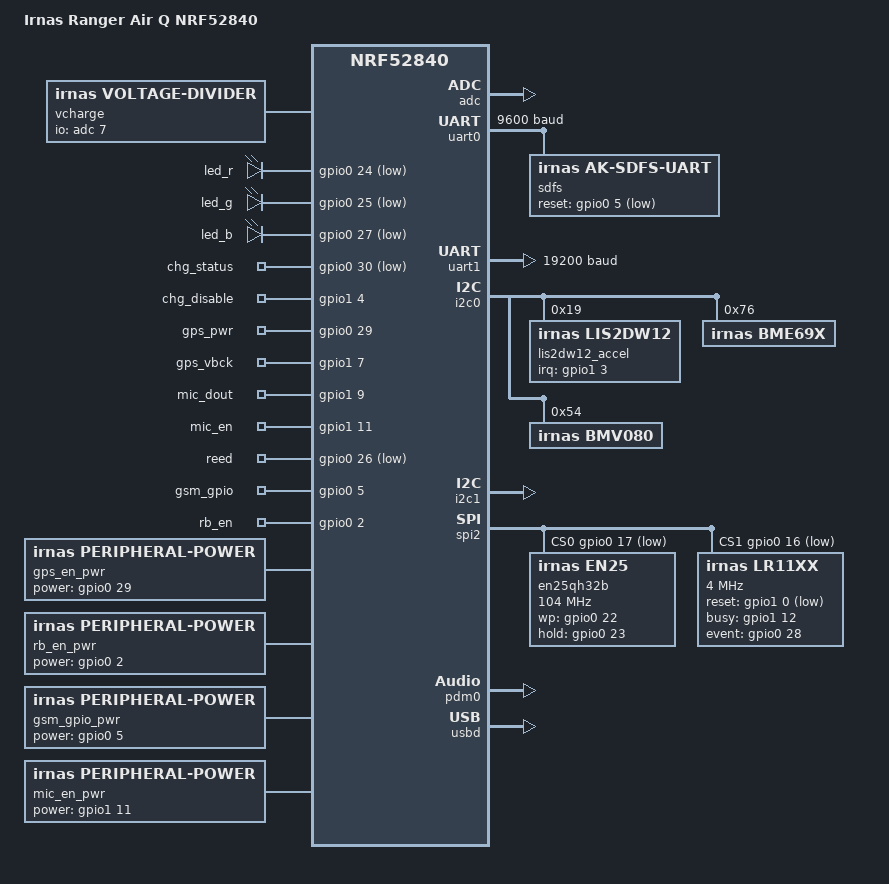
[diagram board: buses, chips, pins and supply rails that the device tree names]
/*
 * Copyright (c) 2017 Linaro Limited
 *
 * SPDX-License-Identifier: Apache-2.0
 */

/dts-v1/;
#include <nordic/nrf52840_qiaa.dtsi>
#include "rangeredge_airq_nrf52840-pinctrl.dtsi"
#include <lr11xx_bindings_def.h>

/ {
	model = "Irnas Ranger Air Q NRF52840";
	compatible = "nordic,rangeredge-airq-nrf52840";

	chosen {
		zephyr,console = &uart0;
		zephyr,shell-uart = &uart0;
		zephyr,uart-mcumgr = &uart0;
		zephyr,bt-mon-uart = &uart0;
		zephyr,bt-c2h-uart = &uart0;
        zephyr,sram = &sram0;
		zephyr,flash = &flash0;
		zephyr,code-partition = &slot0_partition;
        nordic,pm-ext-flash = &en25qh32b;
    };

    vcharge {
		compatible = "irnas,voltage-divider";
		io-channels = <&adc 7>;
		lower-resistor-ohms = <10000>;
		upper-resistor-ohms = <(165000 + 10000)>;
        power-startup-delay-ms = <50>;
	};

    leds {
		compatible = "gpio-leds";
		led_r: led_r {
			gpios = <&gpio0 24 GPIO_ACTIVE_LOW>;
		};

        led_g: led_g {
			gpios = <&gpio0 25 GPIO_ACTIVE_LOW>;
		};

        led_b: led_b {
			gpios = <&gpio0 27 GPIO_ACTIVE_LOW>;
		};
	};

    pins: pins {
        compatible = "gpio-keys";
        chg_status: chg_status {
            gpios = <&gpio0 30 (GPIO_PULL_UP | GPIO_ACTIVE_LOW)>;
        };
        chg_disable: chg_disable {
            gpios = <&gpio1 4 GPIO_ACTIVE_HIGH>;
        };
        gps_pwr: gps_pwr {
            gpios = <&gpio0 29 GPIO_ACTIVE_HIGH>;
        };
        gps_vbck: gps_vbck {
            gpios = <&gpio1 7 GPIO_ACTIVE_HIGH>;
        };
        mic_dout: mic_dout {
            gpios = <&gpio1 9 GPIO_ACTIVE_HIGH>;
        };
        mic_en: mic_en {
            gpios = <&gpio1 11 GPIO_ACTIVE_HIGH>;
        };
        reed: reed {
            gpios = <&gpio0 26 GPIO_ACTIVE_LOW>;
        };
        gsm_gpio: gsm_gpio {
            gpios = <&gpio0 5 GPIO_ACTIVE_HIGH>;
        };
        rb_en: rb_en {
            gpios = <&gpio0 2 GPIO_ACTIVE_HIGH>;
        };
    };

    gps_en_pwr  {
        compatible = "irnas,peripheral-power";
        power-gpios = <&gpio0 29 GPIO_ACTIVE_HIGH>;
        initial-state = <0>;
        status = "okay";
    };

    rb_en_pwr  {
        compatible = "irnas,peripheral-power";
        power-gpios = <&gpio0 2 GPIO_ACTIVE_HIGH>;
        initial-state = <0>;
        status = "okay";
    };

    gsm_gpio_pwr  {
        compatible = "irnas,peripheral-power";
        power-gpios = <&gpio0 5 GPIO_ACTIVE_HIGH>;
        initial-state = <0>;
        status = "okay";
    };

    mic_en_pwr  {
        compatible = "irnas,peripheral-power";
        power-gpios = <&gpio1 11 GPIO_ACTIVE_HIGH>;
        initial-state = <0>;
        status = "okay";
    };

	aliases {
        gps-i2c = &i2c1;
        led-r = &led_r;
        led-g = &led_g;
        led-b = &led_b;
        gsm-uart = &uart0;
        rb-uart = &uart1;
        external-flash = &en25qh32b;
        sdfs-uart = &uart0;
        sdfs-uart-reset = &gsm_gpio;
	};
};

&adc {
	status = "okay";
};

&gpiote {
	status = "okay";
};

&gpio0 {
	status = "okay";
};

&gpio1 {
	status = "okay";
};

&uart0 {
    status = "okay";
    compatible = "nordic,nrf-uarte";
    current-speed = <9600>;
    pinctrl-0 = <&uart0_default>;
    pinctrl-1 = <&uart0_sleep>;
    pinctrl-names = "default", "sleep";

    sdfs: sdfs {
        status = "okay";
        compatible = "irnas,ak-sdfs-uart";
        reset-gpios = <&gpio0 5 GPIO_ACTIVE_LOW>;
    };
};

/* satellite module uart */
&uart1 {
	status = "okay";
    compatible = "nordic,nrf-uarte";
	current-speed = <19200>;
	pinctrl-0 = <&uart1_default>;
    pinctrl-1 = <&uart1_sleep>;
    pinctrl-names = "default", "sleep";
};
&i2c0 {
	compatible = "nordic,nrf-twi";
    status = "okay";
	pinctrl-0 = <&i2c0_default>;
    pinctrl-1 = <&i2c0_sleep>;
    pinctrl-names = "default", "sleep";
    lis2dw12_accel: lis2dw12-accel@19 {
        compatible = "irnas,lis2dw12";
        reg = <0x19>;
		irq-gpios = <&gpio1 3 (GPIO_PULL_DOWN | GPIO_ACTIVE_HIGH)>;
        int-pin = <1>;
        range = <2>;
        power-mode = <1>;
        wu-threshold = <0x6>;
        wu-duration = <0x3>;
        fifo-mode = <0>;
        fifo-watermark = <24>;
    };

    bme69x: bme69x@76 {
        compatible = "irnas,bme69x";
        reg = <0x76>;
        status = "okay";
    };

    bmv080: bmv080@54 {
        compatible = "irnas,bmv080";
        reg = <0x54>;
        status = "okay";
    };

};

&i2c1 {		// GPS SDA/SCL
	compatible = "nordic,nrf-twi";
	/* Cannot be used together with spi1. */
	status = "okay";
	pinctrl-0 = <&i2c1_default>;
    pinctrl-1 = <&i2c1_sleep>;
    pinctrl-names = "default", "sleep";
};

&spi0 {
	/* Cannot be used together with i2c0. */
	status = "disabled";
};

&spi1 {
    status = "disabled";
};

&spi2 {
	compatible = "nordic,nrf-spi";
    status = "okay";
    pinctrl-0 = <&spi2_default>;
    pinctrl-1 = <&spi2_sleep>;
    pinctrl-names = "default", "sleep";
	miso-pull-down;
    cs-gpios = <&gpio0 17 GPIO_ACTIVE_LOW>, <&gpio0 16 GPIO_ACTIVE_LOW>;

    en25qh32b: en25qh32b@0 {
		compatible = "irnas,en25";
		reg = <0>;
        spi-max-frequency = <104000000>;
		jedec-id = [1C 70 16];
        size = <33554432>;
        write-sector-size = <256>;
        erase-full-block-size = <65536>;
        erase-half-block-size = <32768>;
        erase-sector-size = <4096>;

        enter-dpd-delay = <30>;
        exit-dpd-delay = <30>;

        /* wp- and hold- gpios need to be set to active high due to a bug in the flash driver */
        wp-gpios = <&gpio0 22 GPIO_ACTIVE_HIGH>;
        hold-gpios = <&gpio0 23 GPIO_ACTIVE_HIGH>;
	};

    lr11xx: lr11xx@1 {
        compatible = "irnas,lr11xx";
        reg = <1>;
        spi-max-frequency = <4000000>;

        reset-gpios = <&gpio1 0 GPIO_ACTIVE_LOW>;
        busy-gpios = <&gpio1 12 GPIO_ACTIVE_HIGH>;
        event-gpios = <&gpio0 28 (GPIO_ACTIVE_HIGH | GPIO_PULL_DOWN) >;

        rf-sw-enable = <(LR11XX_DIO5 | LR11XX_DIO6 | LR11XX_DIO7 | LR11XX_DIO8)>;  // all DIOs used
        rf-sw-rx-mode = <LR11XX_DIO6>;  // receive - LNA_LF0 path active
        rf-sw-tx-mode = <LR11XX_DIO5>;  // send - PA_HP_LF active
        rf-sw-tx-hp-mode = <LR11XX_DIO5>;  // same as tx cause only RFO_HP_LF is connected
        rf-sw-tx-hf-mode = <LR11XX_DIO7>;  // same as tx cause only RFO_HP_LF is connected
        rf-sw-wifi-mode = <LR11XX_DIO7>;  // WIFI_ANT path active
        rf-sw-gnss-mode = <LR11XX_DIO8>;  // GPS_LNA enable

        lf-tx-path = <LR11XX_TX_PATH_LF_HP>;

        /* TCXO configuration */
		tcxo-supply = <LR11XX_TCXO_SUPPLY_1_8V>;
		tcxo-wakeup-time = <5>;

		/* LF clock config */
		lf-clk = <LR11XX_LFCLK_EXT>; /* EvaTODO - ask if this is ok */
		/* Regulator */
		reg-mode = <LR11XX_REG_MODE_DCDC>;
    };

};

&spi3 {
    status = "disabled";
};

dmic_dev: &pdm0 {
    status = "okay";
    pinctrl-0 = <&pdm0_default>;
    pinctrl-1 = <&pdm0_sleep>;
    pinctrl-names = "default", "sleep";
};

&flash0 {
	/*
	 * For more information, see:
	 * http://docs.zephyrproject.org/latest/guides/dts/index.html#flash-partitions
	 */
	partitions {
		compatible = "fixed-partitions";
		#address-cells = <1>;
		#size-cells = <1>;

		boot_partition: partition@0 {
			reg = <0x000000000 0x0000C000>;
		};
		slot0_partition: partition@c000 {
			reg = <0x0000C000 0x00067000>;
		};
		slot1_partition: partition@73000 {
			reg = <0x00073000 0x00067000>;
		};
		scratch_partition: partition@da000 {
			reg = <0x000da000 0x0001e000>;
		};

		/*
		 * The flash starting at 0x000f8000 and ending at
		 * 0x000fffff is reserved for use by the application.
		 */

		/*
		 * Storage partition will be used by FCB/LittleFS/NVS
		 * if enabled.
		 */
		storage_partition: partition@f8000 {
			reg = <0x000f8000 0x00008000>;
		};
	};
};

&usbd {
	compatible = "nordic,nrf-usbd";
	status = "okay";
};
